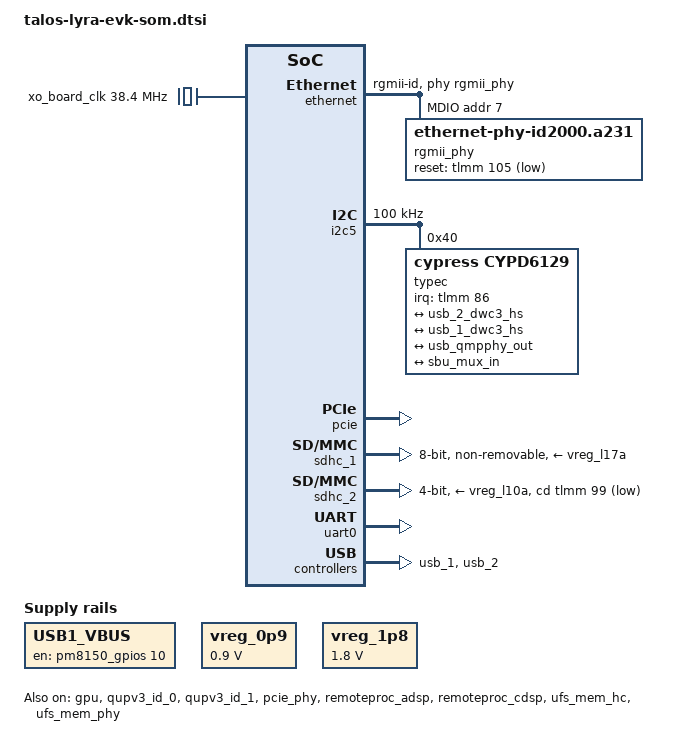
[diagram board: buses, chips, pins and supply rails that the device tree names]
// SPDX-License-Identifier: BSD-3-Clause
/*
 * Copyright (c) Qualcomm Technologies, Inc. and/or its subsidiaries.
 */

#include <dt-bindings/gpio/gpio.h>
#include <dt-bindings/regulator/qcom,rpmh-regulator.h>
#include <dt-bindings/sound/qcom,q6afe.h>
#include "talos.dtsi"
#include "pm8150.dtsi"
/ {
	aliases {
		mmc0 = &sdhc_1;
		mmc1 = &sdhc_2;
		serial0 = &uart0;
	};

	chosen {
		stdout-path = "serial0:115200n8";
	};

	clocks {
		sleep_clk: sleep-clk {
			compatible = "fixed-clock";
			clock-frequency = <32764>;
			#clock-cells = <0>;
		};

		xo_board_clk: xo-board-clk {
			compatible = "fixed-clock";
			clock-frequency = <38400000>;
			#clock-cells = <0>;
		};
	};

	regulator-usb1-vbus {
		compatible = "regulator-fixed";
		regulator-name = "USB1_VBUS";
		gpio = <&pm8150_gpios 10 GPIO_ACTIVE_HIGH>;
		pinctrl-0 = <&usb1_en>;
		pinctrl-names = "default";
		enable-active-high;
		regulator-always-on;
	};

	vreg_0p9: regulator-0v9 {
		compatible = "regulator-fixed";
		regulator-name = "VREG_0P9";
		regulator-min-microvolt = <900000>;
		regulator-max-microvolt = <900000>;
		regulator-always-on;
		regulator-boot-on;
	};

	vreg_1p8: regulator-1v8 {
		compatible = "regulator-fixed";
		regulator-name = "VREG_1P8";
		regulator-min-microvolt = <1800000>;
		regulator-max-microvolt = <1800000>;
		regulator-always-on;
		regulator-boot-on;
	};
};

&apps_rsc {
	regulators-0 {
		compatible = "qcom,pm8150-rpmh-regulators";
		qcom,pmic-id = "a";

		vreg_s3a: smps3 {
			regulator-name = "vreg_s3a";
			regulator-min-microvolt = <600000>;
			regulator-max-microvolt = <650000>;
			regulator-initial-mode = <RPMH_REGULATOR_MODE_HPM>;
		};

		vreg_s4a: smps4 {
			regulator-name = "vreg_s4a";
			regulator-min-microvolt = <1800000>;
			regulator-max-microvolt = <1829000>;
			regulator-initial-mode = <RPMH_REGULATOR_MODE_HPM>;
		};

		vreg_s5a: smps5 {
			regulator-name = "vreg_s5a";
			regulator-min-microvolt = <1896000>;
			regulator-max-microvolt = <2040000>;
			regulator-initial-mode = <RPMH_REGULATOR_MODE_HPM>;
		};

		vreg_s6a: smps6 {
			regulator-name = "vreg_s6a";
			regulator-min-microvolt = <1304000>;
			regulator-max-microvolt = <1404000>;
			regulator-initial-mode = <RPMH_REGULATOR_MODE_HPM>;
		};

		vreg_l1a: ldo1 {
			regulator-name = "vreg_l1a";
			regulator-min-microvolt = <488000>;
			regulator-max-microvolt = <852000>;
			regulator-initial-mode = <RPMH_REGULATOR_MODE_LPM>;
			regulator-allow-set-load;
			regulator-allowed-modes = <RPMH_REGULATOR_MODE_LPM
						   RPMH_REGULATOR_MODE_HPM>;
		};

		vreg_l2a: ldo2 {
			regulator-name = "vreg_l2a";
			regulator-min-microvolt = <1650000>;
			regulator-max-microvolt = <3100000>;
			regulator-initial-mode = <RPMH_REGULATOR_MODE_LPM>;
			regulator-allow-set-load;
			regulator-allowed-modes = <RPMH_REGULATOR_MODE_LPM
						   RPMH_REGULATOR_MODE_HPM>;
		};

		vreg_l3a: ldo3 {
			regulator-name = "vreg_l3a";
			regulator-min-microvolt = <1000000>;
			regulator-max-microvolt = <1248000>;
			regulator-initial-mode = <RPMH_REGULATOR_MODE_LPM>;
			regulator-allow-set-load;
			regulator-allowed-modes = <RPMH_REGULATOR_MODE_LPM
						   RPMH_REGULATOR_MODE_HPM>;
		};

		vreg_l5a: ldo5 {
			regulator-name = "vreg_l5a";
			regulator-min-microvolt = <875000>;
			regulator-max-microvolt = <975000>;
			regulator-initial-mode = <RPMH_REGULATOR_MODE_HPM>;
			regulator-allow-set-load;
			regulator-allowed-modes = <RPMH_REGULATOR_MODE_LPM
						   RPMH_REGULATOR_MODE_HPM>;
		};

		vreg_l7a: ldo7 {
			regulator-name = "vreg_l7a";
			regulator-min-microvolt = <1800000>;
			regulator-max-microvolt = <1900000>;
			regulator-initial-mode = <RPMH_REGULATOR_MODE_HPM>;
			regulator-allow-set-load;
			regulator-allowed-modes = <RPMH_REGULATOR_MODE_LPM
						   RPMH_REGULATOR_MODE_HPM>;
		};

		vreg_l8a: ldo8 {
			regulator-name = "vreg_l8a";
			regulator-min-microvolt = <1150000>;
			regulator-max-microvolt = <1350000>;
			regulator-initial-mode = <RPMH_REGULATOR_MODE_HPM>;
			regulator-allow-set-load;
			regulator-allowed-modes = <RPMH_REGULATOR_MODE_LPM
						   RPMH_REGULATOR_MODE_HPM>;
		};

		vreg_l10a: ldo10 {
			regulator-name = "vreg_l10a";
			regulator-min-microvolt = <2950000>;
			regulator-max-microvolt = <3312000>;
			regulator-initial-mode = <RPMH_REGULATOR_MODE_HPM>;
			regulator-allow-set-load;
			regulator-allowed-modes = <RPMH_REGULATOR_MODE_LPM
						   RPMH_REGULATOR_MODE_HPM>;
		};

		vreg_l11a: ldo11 {
			regulator-name = "vreg_l11a";
			regulator-min-microvolt = <1232000>;
			regulator-max-microvolt = <1260000>;
			regulator-initial-mode = <RPMH_REGULATOR_MODE_LPM>;
			regulator-allow-set-load;
			regulator-allowed-modes = <RPMH_REGULATOR_MODE_LPM
						   RPMH_REGULATOR_MODE_HPM>;
		};

		vreg_l12a: ldo12 {
			regulator-name = "vreg_l12a";
			regulator-min-microvolt = <1800000>;
			regulator-max-microvolt = <1890000>;
			regulator-initial-mode = <RPMH_REGULATOR_MODE_HPM>;
		};

		vreg_l13a: ldo13 {
			regulator-name = "vreg_l13a";
			regulator-min-microvolt = <3000000>;
			regulator-max-microvolt = <3230000>;
			regulator-initial-mode = <RPMH_REGULATOR_MODE_LPM>;
			regulator-allow-set-load;
			regulator-allowed-modes = <RPMH_REGULATOR_MODE_LPM
						   RPMH_REGULATOR_MODE_HPM>;
		};

		vreg_l15a: ldo15 {
			regulator-name = "vreg_l15a";
			regulator-min-microvolt = <1800000>;
			regulator-max-microvolt = <1904000>;
			regulator-initial-mode = <RPMH_REGULATOR_MODE_LPM>;
			regulator-allow-set-load;
			regulator-allowed-modes = <RPMH_REGULATOR_MODE_LPM
						   RPMH_REGULATOR_MODE_HPM>;
		};

		vreg_l16a: ldo16 {
			regulator-name = "vreg_l16a";
			regulator-min-microvolt = <3000000>;
			regulator-max-microvolt = <3312000>;
			regulator-initial-mode = <RPMH_REGULATOR_MODE_LPM>;
			regulator-allow-set-load;
			regulator-allowed-modes = <RPMH_REGULATOR_MODE_LPM
						   RPMH_REGULATOR_MODE_HPM>;
		};

		vreg_l17a: ldo17 {
			regulator-name = "vreg_l17a";
			regulator-min-microvolt = <2950000>;
			regulator-max-microvolt = <3312000>;
			regulator-initial-mode = <RPMH_REGULATOR_MODE_HPM>;
		};
	};
};

&ethernet {
	pinctrl-0 = <&ethernet_defaults>;
	pinctrl-names = "default";

	phy-handle = <&rgmii_phy>;
	phy-mode = "rgmii-id";

	snps,mtl-rx-config = <&mtl_rx_setup>;
	snps,mtl-tx-config = <&mtl_tx_setup>;

	status = "okay";

	mdio: mdio {
		compatible = "snps,dwmac-mdio";
		#address-cells = <1>;
		#size-cells = <0>;

		rgmii_phy: ethernet-phy@7 {
			compatible = "ethernet-phy-id2000.a231";
			reg = <0x7>;

			reset-gpios = <&tlmm 105 GPIO_ACTIVE_LOW>;
			reset-assert-us = <11000>;
			reset-deassert-us = <70000>;
		};
	};

	mtl_rx_setup: rx-queues-config {
		snps,rx-queues-to-use = <1>;
		snps,rx-sched-sp;

		queue0 {
			snps,dcb-algorithm;
			snps,map-to-dma-channel = <0x0>;
			snps,route-up;
			snps,priority = <0x1>;
		};
	};

	mtl_tx_setup: tx-queues-config {
		snps,tx-queues-to-use = <1>;
		snps,tx-sched-wrr;

		queue0 {
			snps,weight = <0x10>;
			snps,dcb-algorithm;
			snps,priority = <0x0>;
		};
	};
};

&gcc {
	clocks = <&rpmhcc RPMH_CXO_CLK>,
		 <&rpmhcc RPMH_CXO_CLK_A>,
		 <&sleep_clk>;
};

&gpu {
	status = "okay";
};

&gpu_zap_shader {
	firmware-name = "qcom/qcs615/a612_zap.mbn";
};

&qupv3_id_0 {
	status = "okay";
};

&qupv3_id_1 {
	status = "okay";
};

&i2c5 {
	clock-frequency = <100000>;

	status = "okay";

	typec@40 {
		compatible = "cypress,cypd6129";
		reg = <0x40>;
		interrupts-extended = <&tlmm 86 IRQ_TYPE_LEVEL_LOW>;
		pinctrl-0 = <&usb0_intr_state>;
		pinctrl-names = "default";
		wakeup-source;

		#address-cells = <1>;
		#size-cells = <0>;

		connector@0 {
			compatible = "usb-c-connector";
			reg = <0>;
			label = "USB-C";
			data-role = "dual";
			power-role = "dual";

			ports {
				#address-cells = <1>;
				#size-cells = <0>;

				port@0 {
					reg = <0>;

					ucsi_ccg_port_0_hs: endpoint {
						remote-endpoint = <&usb_2_dwc3_hs>;
					};
				};
			};
		};

		connector@1 {
			compatible = "usb-c-connector";
			reg = <1>;
			label = "USB-C";
			data-role = "dual";
			power-role = "dual";

			ports {
				#address-cells = <1>;
				#size-cells = <0>;

				port@0 {
					reg = <0>;

					ucsi_ccg_port_1_hs: endpoint {
						remote-endpoint = <&usb_1_dwc3_hs>;
					};
				};

				port@1 {
					reg = <1>;

					ccg_typec_con1_ss: endpoint {
						remote-endpoint = <&usb_qmpphy_out>;
					};
				};

				port@2 {
					reg = <2>;

					ccg_typec_con1_sbu: endpoint {
						remote-endpoint = <&sbu_mux_in>;
					};
				};
			};
		};
	};
};

&pm8150_gpios {
	usb1_en: usb1-en-state {
		pins = "gpio10";
		function = "normal";
		output-enable;
		power-source = <0>;
	};
};

&pcie {
	wake-gpios = <&tlmm 100 GPIO_ACTIVE_HIGH>;

	iommu-map = <0x0 &apps_smmu 0x400 0x1>,
		    <0x100 &apps_smmu 0x401 0x1>,
		    <0x208 &apps_smmu 0x402 0x1>,
		    <0x210 &apps_smmu 0x403 0x1>,
		    <0x218 &apps_smmu 0x404 0x1>,
		    <0x300 &apps_smmu 0x405 0x1>,
		    <0x400 &apps_smmu 0x406 0x1>,
		    <0x500 &apps_smmu 0x407 0x1>,
		    <0x501 &apps_smmu 0x408 0x1>;

	status = "okay";
};

&pcie_phy {
	vdda-phy-supply = <&vreg_l5a>;
	vdda-pll-supply = <&vreg_l12a>;

	status = "okay";
};

&remoteproc_adsp {
	firmware-name = "qcom/qcs615/adsp.mbn";

	status = "okay";
};

&remoteproc_cdsp {
	firmware-name = "qcom/qcs615/cdsp.mbn";

	status = "okay";
};

&rpmhcc {
	clocks = <&xo_board_clk>;
};

&sdhc_1 {
	pinctrl-0 = <&sdc1_state_on>;
	pinctrl-1 = <&sdc1_state_off>;
	pinctrl-names = "default", "sleep";
	bus-width = <8>;
	mmc-ddr-1_8v;
	mmc-hs200-1_8v;
	mmc-hs400-1_8v;
	mmc-hs400-enhanced-strobe;
	vmmc-supply = <&vreg_l17a>;
	vqmmc-supply = <&vreg_s4a>;
	non-removable;
	no-sd;
	no-sdio;

	status = "okay";
};

&sdhc_2 {
	pinctrl-0 = <&sdc2_state_on>;
	pinctrl-1 = <&sdc2_state_off>;
	pinctrl-names = "default", "sleep";
	bus-width = <4>;
	cd-gpios = <&tlmm 99 GPIO_ACTIVE_LOW>;
	vmmc-supply = <&vreg_l10a>;
	vqmmc-supply = <&vreg_s4a>;

	status = "okay";
};

&tlmm {
	usb0_intr_state: usb0-intr-state {
		pins = "gpio86";
		function = "gpio";
		drive-strength = <2>;
		bias-pull-up;
	};
};

&uart0 {
	status = "okay";
};

&ufs_mem_hc {
	reset-gpios = <&tlmm 123 GPIO_ACTIVE_LOW>;
	vcc-supply = <&vreg_l17a>;
	vcc-max-microamp = <600000>;
	vccq2-supply = <&vreg_s4a>;
	vccq2-max-microamp = <600000>;

	status = "okay";
};

&ufs_mem_phy {
	vdda-phy-supply = <&vreg_l5a>;
	vdda-pll-supply = <&vreg_l12a>;

	status = "okay";
};

&usb_1 {
	status = "okay";
};

&usb_1_dwc3_hs {
	remote-endpoint = <&ucsi_ccg_port_1_hs>;
};

&usb_2 {
	status = "okay";
};

/* HS only */
&usb_2_dwc3_hs {
	remote-endpoint = <&ucsi_ccg_port_0_hs>;
};

&usb_qmpphy_out {
	remote-endpoint = <&ccg_typec_con1_ss>;
};
